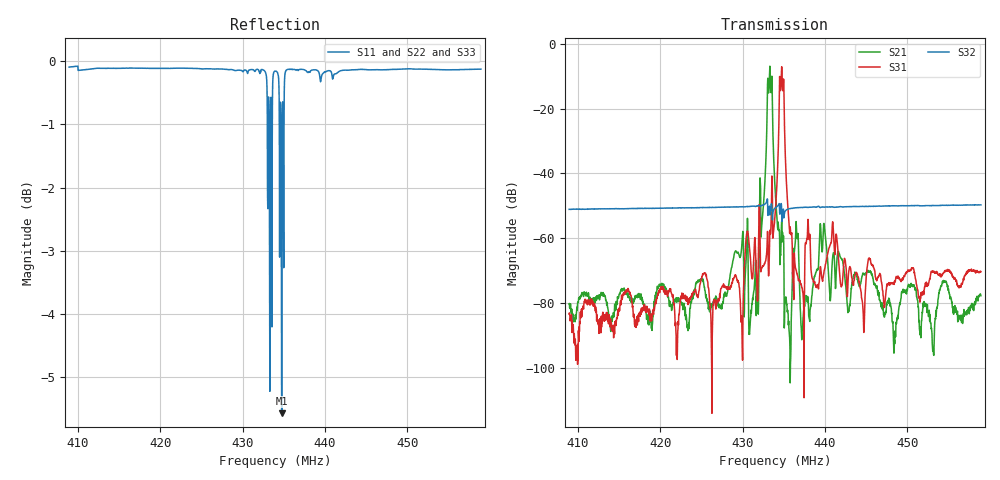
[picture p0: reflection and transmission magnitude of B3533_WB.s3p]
! Matrix data file written by TouchstoneData, EPCOS AG
! FILENAME: "newformat_LZ05A_MB.s3p"
! COMMENT: "(LZ05A_MB.s3p) Epcos AG 31.01.2012 10:29:07"
! INFO: nport=3, nfreq=1601
! DATE: "Tue Jan 31 14:09:48 2012"
! USER: "Wilfried Schott"
! port | pin | signal
!  1  |  1  |  IN
!  2  |  5  |  OUT CH3
!  3  |  7  |  OUT CH2
# MHZ S MA R 50
! freq  magS11 angS11  magS12 angS12  magS13 angS13  ...
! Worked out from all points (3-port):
!   1601 points, 408.9 MHz to 458.9 MHz, reference 50 ohm
!   strongest paths, dB at 408.9 MHz, 421.4 MHz, 433.9 MHz, 446.4 MHz, 458.9 MHz:
!     S32: -51.1, -50.6, -50.7, -50.1, -49.7
!     S31: -83.4, -77.7, -53.2, -71.9, -70.4
!     S21: -80.2, -81.3, -44.4, -76.2, -77.7
!   lowest |S11| = -5.6 dB at 434.7 MHz (marker M1), VSWR 3.23, Z = 104 - j71.3 ohm
!   |S11| at or under -10 dB: nowhere
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408.92  0.9892 -31.7  9.166e-05 51.2  6.468e-05 147.4
        9.726e-05 38.7  0.9903 -18.3  0.0028 70.6
        6.752e-05 141.5  0.002792 70.7  0.9902 -18.8
430.9513  0.9845 -34.6  6.297e-05 48.9  0.0004486 79.1
          5.957e-05 60.2  0.9881 -20.0  0.003088 69.1
          0.0004628 79.2  0.003113 69.1  0.986 -20.4
431.7638  0.9853 -35.4  0.0001176 65.5  0.000139 -92.3
          0.0001261 62.9  0.9877 -20.7  0.003143 68.7
          0.0001332 -93.6  0.003153 68.6  0.9871 -20.6
433.2325  0.8338 -49.8  0.2885 -152.0  0.0005582 -46.2
          0.2876 -152.0  0.8369 -33.0  0.003139 57.5
          0.0005749 -46.9  0.003133 57.5  0.9864 -21.5
433.92  0.9819 -32.3  0.006066 -108.6  0.002174 59.1
        0.006036 -108.6  0.9873 -15.5  0.002917 69.6
        0.002177 59.1  0.002914 69.7  0.9845 -22.9
434.7325  0.5268 -28.1  0.001712 -67.6  0.443 146.6
          0.001804 -69.6  0.9888 -17.8  0.002192 33.5
          0.4434 146.5  0.00224 36.4  0.5406 -11.9
435.9513  0.9851 -31.1  9.092e-05 42.8  0.001215 -144.4
          0.0001038 44.1  0.9894 -18.6  0.002896 70.9
          0.001216 -144.3  0.002898 70.8  0.9881 -18.2
437.2325  0.9851 -32.6  3.645e-05 27.7  0.0001658 -146.2
          3.891e-05 24.5  0.9885 -19.1  0.002988 70.0
          0.0001703 -142.7  0.002976 70.2  0.9889 -19.4
439.6388  0.9758 -33.1  0.0006019 133.1  0.0002315 -141.8
          0.0006146 131.3  0.984 -19.4  0.003047 69.4
          0.0002347 -142.3  0.003039 69.2  0.9857 -20.1
458.92  0.9855 -35.2  0.0001422 71.2  0.0003095 -137.9
        0.0001298 76.7  0.9886 -20.3  0.00328 68.6
        0.0003034 -134.3  0.003277 68.4  0.9867 -21.0
